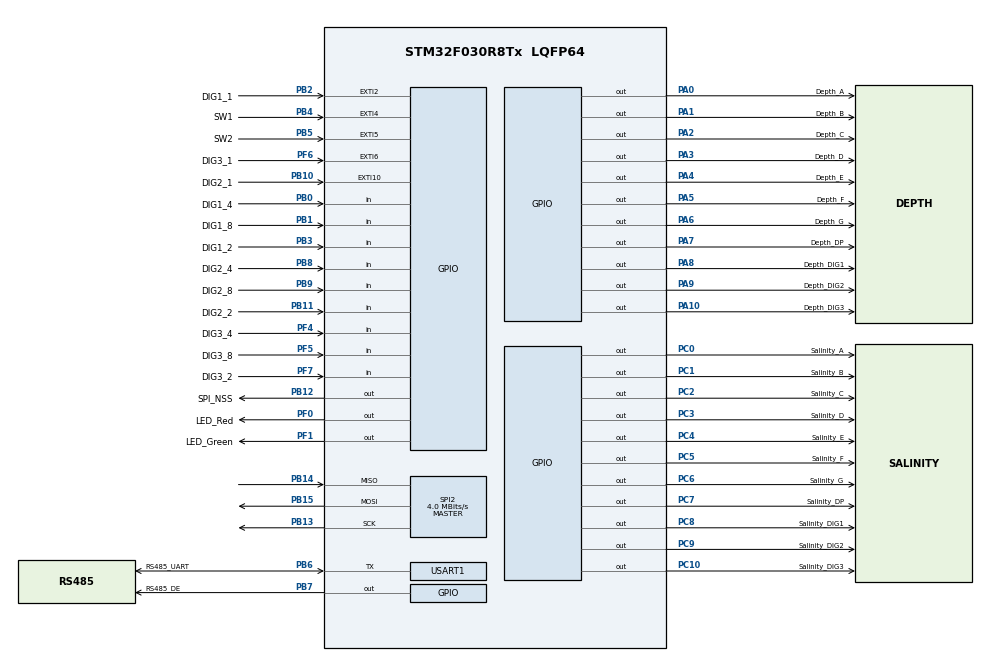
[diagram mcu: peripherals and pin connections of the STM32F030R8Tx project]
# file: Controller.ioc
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Dma.Request0=TIM6_UP
Dma.Request1=TIM17_CH1/UP
Dma.TIM17_CH1/UP.1.Direction=DMA_MEMORY_TO_PERIPH
Dma.TIM17_CH1/UP.1.Instance=DMA1_Channel1
Dma.TIM17_CH1/UP.1.MemDataAlignment=DMA_MDATAALIGN_WORD
Dma.TIM17_CH1/UP.1.MemInc=DMA_MINC_ENABLE
Dma.TIM17_CH1/UP.1.Mode=DMA_CIRCULAR
Dma.TIM17_CH1/UP.1.PeriphDataAlignment=DMA_PDATAALIGN_WORD
Dma.TIM17_CH1/UP.1.PeriphInc=DMA_PINC_DISABLE
Dma.TIM17_CH1/UP.1.Priority=DMA_PRIORITY_LOW
Dma.TIM6_UP.0.Direction=DMA_MEMORY_TO_PERIPH
Dma.TIM6_UP.0.Instance=DMA1_Channel3
Dma.TIM6_UP.0.MemDataAlignment=DMA_MDATAALIGN_WORD
Dma.TIM6_UP.0.MemInc=DMA_MINC_ENABLE
Dma.TIM6_UP.0.Mode=DMA_CIRCULAR
Dma.TIM6_UP.0.PeriphDataAlignment=DMA_PDATAALIGN_WORD
Dma.TIM6_UP.0.PeriphInc=DMA_PINC_DISABLE
Dma.TIM6_UP.0.Priority=DMA_PRIORITY_LOW
Mcu.Family=STM32F0
Mcu.Name=STM32F030R8Tx
Mcu.Package=LQFP64
NVIC.DMA1_Channel1_IRQn=true\:0\:0\:false\:false\:true\:false\:true\:true
NVIC.DMA1_Channel2_3_IRQn=true\:0\:0\:false\:false\:true\:false\:true\:true
NVIC.EXTI2_3_IRQn=true\:3\:0\:true\:false\:true\:true\:true\:true
NVIC.EXTI4_15_IRQn=true\:3\:0\:true\:true\:true\:3\:true\:true\:true
NVIC.TIM6_IRQn=true\:0\:0\:false\:true\:true\:1\:true\:true\:true
NVIC.USART1_IRQn=true\:0\:0\:false\:true\:true\:2\:true\:true\:true
PA0.GPIO_Label=Depth_A
PA0.Signal=GPIO_Output
PA1.GPIO_Label=Depth_B
PA1.Signal=GPIO_Output
PA10.GPIO_Label=Depth_DIG3
PA10.GPIO_ModeDefaultOutputPP=GPIO_MODE_OUTPUT_OD
PA10.GPIO_PuPd=GPIO_NOPULL
PA10.Signal=GPIO_Output
PA13.Mode=Serial_Wire
PA13.Signal=SYS_SWDIO
PA14.Mode=Serial_Wire
PA14.Signal=SYS_SWCLK
PA2.GPIO_Label=Depth_C
PA2.Signal=GPIO_Output
PA3.GPIO_Label=Depth_D
PA3.Signal=GPIO_Output
PA4.GPIO_Label=Depth_E
PA4.Signal=GPIO_Output
PA5.GPIO_Label=Depth_F
PA5.Signal=GPIO_Output
PA6.GPIO_Label=Depth_G
PA6.Signal=GPIO_Output
PA7.GPIO_Label=Depth_DP
PA7.Signal=GPIO_Output
PA8.GPIO_Label=Depth_DIG1
PA8.GPIO_ModeDefaultOutputPP=GPIO_MODE_OUTPUT_OD
PA8.GPIO_PuPd=GPIO_NOPULL
PA8.PinState=GPIO_PIN_RESET
PA8.Signal=GPIO_Output
PA9.GPIO_Label=Depth_DIG2
PA9.GPIO_ModeDefaultOutputPP=GPIO_MODE_OUTPUT_OD
PA9.GPIO_PuPd=GPIO_NOPULL
PA9.Signal=GPIO_Output
PB0.GPIO_Label=DIG1_4
PB0.GPIO_PuPd=GPIO_PULLDOWN
PB0.Signal=GPIO_Input
PB1.GPIO_Label=DIG1_8
PB1.GPIO_PuPd=GPIO_PULLDOWN
PB1.Signal=GPIO_Input
PB10.GPIO_Label=DIG2_1
PB10.GPIO_ModeDefaultEXTI=GPIO_MODE_IT_RISING_FALLING
PB10.GPIO_PuPd=GPIO_PULLDOWN
PB10.Signal=GPXTI10
PB11.GPIO_Label=DIG2_2
PB11.GPIO_PuPd=GPIO_PULLDOWN
PB11.Signal=GPIO_Input
PB12.GPIO_Label=SPI_NSS
PB12.GPIO_ModeDefaultOutputPP=GPIO_MODE_OUTPUT_OD
PB12.GPIO_PuPd=GPIO_NOPULL
PB12.Signal=GPIO_Output
PB13.Mode=Full_Duplex_Master
PB13.Signal=SPI2_SCK
PB14.Mode=Full_Duplex_Master
PB14.Signal=SPI2_MISO
PB15.Mode=Full_Duplex_Master
PB15.Signal=SPI2_MOSI
PB2.GPIO_Label=DIG1_1
PB2.GPIO_ModeDefaultEXTI=GPIO_MODE_IT_RISING_FALLING
PB2.GPIO_PuPd=GPIO_PULLDOWN
PB2.Signal=GPXTI2
PB3.GPIO_Label=DIG1_2
PB3.GPIO_PuPd=GPIO_PULLDOWN
PB3.Signal=GPIO_Input
PB4.GPIO_Label=SW1
PB4.GPIO_ModeDefaultEXTI=GPIO_MODE_IT_FALLING
PB4.GPIO_PuPd=GPIO_PULLUP
PB4.Signal=GPXTI4
PB5.GPIO_Label=SW2
PB5.GPIO_ModeDefaultEXTI=GPIO_MODE_IT_FALLING
PB5.GPIO_PuPd=GPIO_PULLUP
PB5.Signal=GPXTI5
PB6.GPIO_Label=RS485_UART
PB6.Mode=Half_duplex(single_wire_mode)
PB6.Signal=USART1_TX
PB7.GPIO_Label=RS485_DE
PB7.Signal=GPIO_Output
PB8.GPIO_Label=DIG2_4
PB8.GPIO_PuPd=GPIO_PULLDOWN
PB8.Signal=GPIO_Input
PB9.GPIO_Label=DIG2_8
PB9.GPIO_PuPd=GPIO_PULLDOWN
PB9.Signal=GPIO_Input
PC0.GPIO_Label=Salinity_A
PC0.Signal=GPIO_Output
PC1.GPIO_Label=Salinity_B
PC1.Signal=GPIO_Output
PC10.GPIO_Label=Salinity_DIG3
PC10.GPIO_ModeDefaultOutputPP=GPIO_MODE_OUTPUT_OD
PC10.GPIO_PuPd=GPIO_NOPULL
PC10.Signal=GPIO_Output
PC2.GPIO_Label=Salinity_C
PC2.Signal=GPIO_Output
PC3.GPIO_Label=Salinity_D
PC3.Signal=GPIO_Output
PC4.GPIO_Label=Salinity_E
PC4.Signal=GPIO_Output
PC5.GPIO_Label=Salinity_F
PC5.Signal=GPIO_Output
PC6.GPIO_Label=Salinity_G
PC6.Signal=GPIO_Output
PC7.GPIO_Label=Salinity_DP
PC7.Signal=GPIO_Output
PC8.GPIO_Label=Salinity_DIG1
PC8.GPIO_ModeDefaultOutputPP=GPIO_MODE_OUTPUT_OD
PC8.GPIO_PuPd=GPIO_NOPULL
PC8.Signal=GPIO_Output
PC9.GPIO_Label=Salinity_DIG2
PC9.GPIO_ModeDefaultOutputPP=GPIO_MODE_OUTPUT_OD
PC9.GPIO_PuPd=GPIO_NOPULL
PC9.Signal=GPIO_Output
PF0-OSC_IN.GPIO_Label=LED_Red
PF0-OSC_IN.Signal=GPIO_Output
PF1-OSC_OUT.GPIO_Label=LED_Green
PF1-OSC_OUT.Signal=GPIO_Output
PF4.GPIO_Label=DIG3_4
PF4.GPIO_PuPd=GPIO_PULLDOWN
PF4.Signal=GPIO_Input
PF5.GPIO_Label=DIG3_8
PF5.GPIO_PuPd=GPIO_PULLDOWN
PF5.Signal=GPIO_Input
PF6.GPIO_Label=DIG3_1
PF6.GPIO_ModeDefaultEXTI=GPIO_MODE_IT_RISING_FALLING
PF6.GPIO_PuPd=GPIO_PULLDOWN
PF6.Signal=GPXTI6
PF7.GPIO_Label=DIG3_2
PF7.GPIO_PuPd=GPIO_PULLDOWN
PF7.Signal=GPIO_Input
ProjectManager.HeapSize=0x200
ProjectManager.StackSize=0x400
ProjectManager.TargetToolchain=Makefile
SPI2.CalculateBaudRate=4.0 MBits/s
SPI2.Direction=SPI_DIRECTION_2LINES
SPI2.Mode=SPI_MODE_MASTER
SPI2.VirtualType=VM_MASTER
TIM17.AutoReloadPreload=TIM_AUTORELOAD_PRELOAD_ENABLE
TIM17.Period=1000-1
TIM17.Prescaler=8-1
TIM6.AutoReloadPreload=TIM_AUTORELOAD_PRELOAD_ENABLE
TIM6.Period=1000-1
TIM6.Prescaler=8-1
USART1.BaudRate=115200
USART1.VirtualMode-Half_duplex(single_wire_mode)=VM_ASYNC
VP_TIM17_VS_ClockSourceINT.Mode=Enable_Timer
VP_TIM6_VS_ClockSourceINT.Mode=Enable_Timer
board=custom

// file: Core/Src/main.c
/* USER CODE BEGIN Header */
/**
 ******************************************************************************
 * @file           : main.c
 * @brief          : Main program body
 ******************************************************************************
 * @attention
 *
 * Copyright (c) 2024 STMicroelectronics.
 * All rights reserved.
 *
 * This software is licensed under terms that can be found in the LICENSE file
 * in the root directory of this software component.
 * If no LICENSE file comes with this software, it is provided AS-IS.
 *
 ******************************************************************************
 */
/* USER CODE END Header */
#include "main.h"
#include "dma.h"
#include "spi.h"
#include "tim.h"
#include "usart.h"
#include "gpio.h"

/* USER CODE BEGIN Includes */
#include "RS485.h"
#include "ProbeConfig.h"
#include <stdio.h>
#include <string.h>
/* USER CODE END Includes */

/* USER CODE BEGIN PTD */
typedef enum
{
    DISPLAY_SALINITY_DEPTH = 0x00,
    DISPLAY_TEMPERATURE = 0x01,
    DISPLAY_DEPTH = 0x02,
    DISPLAY_RESISTANCE = 0x03,
    DISPLAY_CONDUCTIVITY = 0x04,
    DISPLAY_SALINITY = 0x05,
    DISPLAY_CONFIG_ELECTRODE = 0x06,
    DISPLAY_CONFIG_R1 = 0x07,
    DISPLAY_CONFIG_VOLTAGE_START = 0x08,
    DISPLAY_CONFIG_VOLTAGE_END = 0x09,
    DISPLAY_CONFIG_VOLTAGE_SAMPLES = 0x0a,
    DISPLAY_CONFIG_ADC_SAMPLES = 0x0b,
    DISPLAY_CONFIG_VOLTAGE_SETTLE_TIME = 0x0c,
    DISPLAY_CONFIG_SEND = 0x0d,
    DISPLAY_CALIB = 0x0e,
    Display_Mode_MAX = 0x0f,
} Display_Mode;

/* USER CODE END PTD */

/* USER CODE BEGIN PV */
const uint16_t digit_masks[] = {DIGIT_1_MASK, DIGIT_2_MASK, DIGIT_3_MASK};
const uint8_t number_masks[] = {NUMBER_0_MASK, NUMBER_1_MASK, NUMBER_2_MASK, NUMBER_3_MASK, NUMBER_4_MASK, NUMBER_5_MASK, NUMBER_6_MASK, NUMBER_7_MASK, NUMBER_8_MASK, NUMBER_9_MASK};

const uint32_t display_values[][3] = {
    {0, 0, 0}, // unused
    {0xffff0000 | DIGIT_1_MASK | LETTER_T_MASK, 0xffff0000 | DIGIT_2_MASK | LETTER_E_MASK, 0xffff0000 | DIGIT_3_MASK | LETTER_P_MASK},
    {0xffff0000 | DIGIT_1_MASK | LETTER_D_MASK, 0xffff0000 | DIGIT_2_MASK | LETTER_E_MASK, 0xffff0000 | DIGIT_3_MASK | LETTER_P_MASK},
    {0xffff0000 | DIGIT_1_MASK | LETTER_R_MASK, 0xffff0000 | DIGIT_2_MASK | LETTER_E_MASK, 0xffff0000 | DIGIT_3_MASK | LETTER_S_MASK},
    {0xffff0000 | DIGIT_1_MASK | LETTER_C_MASK, 0xffff0000 | DIGIT_2_MASK | LETTER_N_MASK, 0xffff0000 | DIGIT_3_MASK | LETTER_D_MASK},
    {0xffff0000 | DIGIT_1_MASK | LETTER_S_MASK, 0xffff0000 | DIGIT_2_MASK | LETTER_A_MASK, 0xffff0000 | DIGIT_3_MASK | LETTER_L_MASK},
    {0xffff0000 | DIGIT_1_MASK | LETTER_E_MASK, 0xffff0000 | DIGIT_2_MASK | LETTER_L_MASK, 0xffff0000 | DIGIT_3_MASK | LETTER_E_MASK},
    {0xffff0000 | DIGIT_1_MASK | LETTER_R_MASK, 0xffff0000 | DIGIT_2_MASK | NUMBER_1_MASK, 0xffff0000 | DIGIT_3_MASK | 0},
    {0xffff0000 | DIGIT_1_MASK | LETTER_V_MASK | DECIMAL_POINT, 0xffff0000 | DIGIT_2_MASK | LETTER_S_MASK, 0xffff0000 | DIGIT_3_MASK | LETTER_T_MASK},
    {0xffff0000 | DIGIT_1_MASK | LETTER_V_MASK | DECIMAL_POINT, 0xffff0000 | DIGIT_2_MASK | LETTER_E_MASK, 0xffff0000 | DIGIT_3_MASK | LETTER_D_MASK},
    {0xffff0000 | DIGIT_1_MASK | LETTER_V_MASK | DECIMAL_POINT, 0xffff0000 | DIGIT_2_MASK | LETTER_S_MASK, 0xffff0000 | DIGIT_3_MASK | LETTER_P_MASK},
    {0xffff0000 | DIGIT_1_MASK | LETTER_S_MASK, 0xffff0000 | DIGIT_2_MASK | LETTER_P_MASK, 0xffff0000 | DIGIT_3_MASK | LETTER_L_MASK},
    {0xffff0000 | DIGIT_1_MASK | LETTER_S_MASK, 0xffff0000 | DIGIT_2_MASK | LETTER_T_MASK, 0xffff0000 | DIGIT_3_MASK | LETTER_L_MASK},
    {0xffff0000 | DIGIT_1_MASK | LETTER_C_MASK, 0xffff0000 | DIGIT_2_MASK | LETTER_F_MASK, 0xffff0000 | DIGIT_3_MASK | LETTER_G_MASK},
    {0xffff0000 | DIGIT_1_MASK | LETTER_C_MASK, 0xffff0000 | DIGIT_2_MASK | LETTER_L_MASK, 0xffff0000 | DIGIT_3_MASK | LETTER_B_MASK},
};
const uint32_t display_electrode_type[][3] = {
    {0xffff0000 | DIGIT_1_MASK | LETTER_A_MASK, 0xffff0000 | DIGIT_2_MASK | LETTER_U_MASK, 0},
    {0xffff0000 | DIGIT_1_MASK | LETTER_T_MASK, 0xffff0000 | DIGIT_2_MASK | LETTER_I_MASK, 0},
    {0xffff0000 | DIGIT_1_MASK | LETTER_A_MASK, 0xffff0000 | DIGIT_2_MASK | LETTER_U_MASK, 0xffff0000 | DIGIT_3_MASK | LETTER_S_MASK},
};
const uint32_t display_r1_type[][3] = {
    {0xffff0000 | DIGIT_1_MASK | NUMBER_1_MASK, 0xffff0000 | DIGIT_2_MASK | LETTER_E_MASK, 0xffff0000 | DIGIT_3_MASK | NUMBER_2_MASK},
    {0xffff0000 | DIGIT_1_MASK | NUMBER_1_MASK, 0xffff0000 | DIGIT_2_MASK | LETTER_E_MASK, 0xffff0000 | DIGIT_3_MASK | NUMBER_3_MASK},
    {0xffff0000 | DIGIT_1_MASK | NUMBER_1_MASK, 0xffff0000 | DIGIT_2_MASK | LETTER_E_MASK, 0xffff0000 | DIGIT_3_MASK | NUMBER_4_MASK},
};

uint16_t voltage_map[330];

uint32_t salinity_dma_buff[] = {0xffff0000 | DIGIT_1_MASK | NEGATIVE_SIGN_MASK, 0xffff0000 | DIGIT_2_MASK | NEGATIVE_SIGN_MASK, 0xffff0000 | DIGIT_3_MASK | NEGATIVE_SIGN_MASK};
uint32_t depth_dma_buff[] = {0xffff0000 | DIGIT_1_MASK | NEGATIVE_SIGN_MASK, 0xffff0000 | DIGIT_2_MASK | NEGATIVE_SIGN_MASK, 0xffff0000 | DIGIT_3_MASK | NEGATIVE_SIGN_MASK};

Display_Mode display_mode = DISPLAY_SALINITY_DEPTH;
uint8_t dig1, dig2, dig3;
uint32_t last_tick = 0;

RS485_Expecting expecting_response = EXPECTING_NONE;
uint8_t rx_buffer[256], rx_buffer_size = 0;
uint8_t temperature[DATA_PACKET_SIZE] = {0, 0, 0},
        depth[DATA_PACKET_SIZE] = {0, 0, 0},
        salinity[DATA_PACKET_SIZE] = {0, 0, 0},
        resistance[DATA_PACKET_SIZE] = {0, 0, 0},
        conductivity[DATA_PACKET_SIZE] = {0, 0, 0};
uint16_t calib_salinity = 35 * 10;
uint16_t v_start = 165, v_end = 165;
ProbeConfig_TypeDef probe_config = {Au_Shielded, R1_100, BIDIRECTIONAL, 512, 512, 1, 2, STANARD_CONDUCTIVITY, 50};
/* USER CODE END PV */

void SystemClock_Config(void);
static void MX_NVIC_Init(void);
/* USER CODE BEGIN PFP */
uint8_t get_digit(uint8_t digit_number);
int8_t get_change(uint8_t value, uint8_t *prev_val);
void update_buffer_with_salinity(uint32_t *buffer, uint16_t salinity);
void update_buffer_with_voltage(uint32_t *buffer, uint16_t voltage);
void update_buffer_with_int(uint32_t *buffer, uint16_t value);
void update_buffer(uint32_t *buffer, uint8_t *data);
void rs485_transmit(uint8_t *data, uint16_t size);
void rs485_receive_IT(uint16_t size);
/* USER CODE END PFP */

int main(void)
{
    /* USER CODE BEGIN 1 */
    for (uint16_t i = 0; i < 330; i++)
    {
        voltage_map[i] = (i * 1024) / 330 + 1;
    }
    probe_config.voltage_start = voltage_map[v_start];
    probe_config.voltage_end = voltage_map[v_end];
    /* USER CODE END 1 */

    /* MCU Configuration--------------------------------------------------------*/

    /* Reset of all peripherals, Initializes the Flash interface and the Systick. */
    HAL_Init();

    /* Configure the system clock */
    SystemClock_Config();

    /* Initialize all configured peripherals */
    MX_GPIO_Init();
    MX_DMA_Init();
    MX_SPI2_Init();
    MX_USART1_UART_Init();
    MX_TIM6_Init();
    MX_TIM17_Init();

    /* Initialize interrupts */
    MX_NVIC_Init();
    /* USER CODE BEGIN 2 */
    dig1 = get_digit(1);
    dig2 = get_digit(2);
    dig3 = get_digit(3);

    HAL_DMA_Start(&hdma_tim6_up, (uint32_t)salinity_dma_buff, (uint32_t) & (GPIO_SALINITY->BSRR), 3);
    HAL_TIM_Base_Start(&htim6);
    __HAL_TIM_ENABLE_DMA(&htim6, TIM_DMA_UPDATE);

    HAL_DMA_Start(&hdma_tim17_ch1_up, (uint32_t)depth_dma_buff, (uint32_t) & (GPIO_DEPTH->BSRR), 3);
    HAL_TIM_Base_Start(&htim17);
    __HAL_TIM_ENABLE_DMA(&htim17, TIM_DMA_CC1);

    expecting_response = EXPECTING_CONFIG_READY;
    uint8_t command[] = {COMMAND_SET_CONFIG};
    rs485_transmit(command, 1);
    rs485_receive_IT(1);
    /* USER CODE END 2 */

    /* Infinite loop */
    while (1)
    {

    }
}

void SystemClock_Config(void)
{
    RCC_OscInitTypeDef RCC_OscInitStruct = {0};
    RCC_ClkInitTypeDef RCC_ClkInitStruct = {0};
    RCC_PeriphCLKInitTypeDef PeriphClkInit = {0};

    /** Initializes the RCC Oscillators according to the specified parameters
     * in the RCC_OscInitTypeDef structure.
     */
    RCC_OscInitStruct.OscillatorType = RCC_OSCILLATORTYPE_HSI;
    RCC_OscInitStruct.HSIState = RCC_HSI_ON;
    RCC_OscInitStruct.HSICalibrationValue = RCC_HSICALIBRATION_DEFAULT;
    RCC_OscInitStruct.PLL.PLLState = RCC_PLL_NONE;
    if (HAL_RCC_OscConfig(&RCC_OscInitStruct) != HAL_OK)
    {
        Error_Handler();
    }

    /** Initializes the CPU, AHB and APB buses clocks
     */
    RCC_ClkInitStruct.ClockType = RCC_CLOCKTYPE_HCLK | RCC_CLOCKTYPE_SYSCLK | RCC_CLOCKTYPE_PCLK1;
    RCC_ClkInitStruct.SYSCLKSource = RCC_SYSCLKSOURCE_HSI;
    RCC_ClkInitStruct.AHBCLKDivider = RCC_SYSCLK_DIV1;
    RCC_ClkInitStruct.APB1CLKDivider = RCC_HCLK_DIV1;

    if (HAL_RCC_ClockConfig(&RCC_ClkInitStruct, FLASH_LATENCY_0) != HAL_OK)
    {
        Error_Handler();
    }
    PeriphClkInit.PeriphClockSelection = RCC_PERIPHCLK_USART1;
    PeriphClkInit.Usart1ClockSelection = RCC_USART1CLKSOURCE_PCLK1;
    if (HAL_RCCEx_PeriphCLKConfig(&PeriphClkInit) != HAL_OK)
    {
        Error_Handler();
    }
}

/**
 * @brief NVIC Configuration.
 * @retval None
 */
static void MX_NVIC_Init(void)
{
    /* TIM6_IRQn interrupt configuration */
    HAL_NVIC_SetPriority(TIM6_IRQn, 0, 0);
    HAL_NVIC_EnableIRQ(TIM6_IRQn);
    /* USART1_IRQn interrupt configuration */
    HAL_NVIC_SetPriority(USART1_IRQn, 0, 0);
    HAL_NVIC_EnableIRQ(USART1_IRQn);
    /* EXTI4_15_IRQn interrupt configuration */
    HAL_NVIC_SetPriority(EXTI4_15_IRQn, 3, 0);
    HAL_NVIC_EnableIRQ(EXTI4_15_IRQn);
}

/* USER CODE BEGIN 4 */

void HAL_UART_RxCpltCallback(UART_HandleTypeDef *huart)
{
    if (huart->Instance == USART1)
    {
        HAL_GPIO_WritePin(LED_Green_GPIO_Port, LED_Green_Pin, GPIO_PIN_SET);
        switch (expecting_response)
        {
        case EXPECTING_SALINITY_DEPTH:
            salinity[0] = rx_buffer[0];
            salinity[1] = rx_buffer[1];
            salinity[2] = rx_buffer[2];
            if (display_mode == DISPLAY_SALINITY_DEPTH)
            {
                update_buffer(salinity_dma_buff, salinity);
            }
            expecting_response = EXPECTING_DEPTH;
            uint8_t command[] = {COMMAND_GET_DEPTH};
            rs485_transmit(command, 1);
            rs485_receive_IT(DATA_PACKET_SIZE);
            break;
        case EXPECTING_TEMPERATURE:
            temperature[0] = rx_buffer[0];
            temperature[1] = rx_buffer[1];
            temperature[2] = rx_buffer[2];
            if (display_mode == DISPLAY_TEMPERATURE)
            {
                update_buffer(depth_dma_buff, temperature);
            }
            break;
        case EXPECTING_DEPTH:
            depth[0] = rx_buffer[0];
            depth[1] = rx_buffer[1];
            depth[2] = rx_buffer[2];
            if ((display_mode == DISPLAY_DEPTH) || (display_mode == DISPLAY_SALINITY_DEPTH))
            {
                update_buffer(depth_dma_buff, depth);
            }
            break;
        case EXPECTING_SALINITY:
            salinity[0] = rx_buffer[0];
            salinity[1] = rx_buffer[1];
            salinity[2] = rx_buffer[2];
            if (display_mode == DISPLAY_SALINITY)
            {
                update_buffer(depth_dma_buff, salinity);
            }
            break;
        case EXPECTING_CONDUCTIVITY:
            conductivity[0] = rx_buffer[0];
            conductivity[1] = rx_buffer[1];
            conductivity[2] = rx_buffer[2];
            if (display_mode == DISPLAY_CONDUCTIVITY)
            {
                update_buffer(depth_dma_buff, conductivity);
            }
            break;
        case EXPECTING_RESISTANCE:
            resistance[0] = rx_buffer[0];
            resistance[1] = rx_buffer[1];
            resistance[2] = rx_buffer[2];
            if (display_mode == DISPLAY_RESISTANCE)
            {
                update_buffer(depth_dma_buff, resistance);
            }
            break;

        case EXPECTING_CONFIG_READY:
            if (rx_buffer[0] == RESPONSE_ACK)
            {
                expecting_response = EXPECTING_ACK;
                rs485_transmit((uint8_t *)&probe_config, CONFIG_PACKET_SIZE);
            }
            break;
        case EXPECTING_CALIB_READY:
            if (rx_buffer[0] == RESPONSE_ACK)
            {
                expecting_response = EXPECTING_STANARD_CONDUCTIVITY;
                rs485_transmit((uint8_t *)&calib_salinity, 2);
                rs485_receive_IT(sizeof(uint32_t));
            }
            break;
        case EXPECTING_STANARD_CONDUCTIVITY:
            uint32_t standard_conductivity = *((uint32_t *)rx_buffer);
            probe_config.stardard_conductivity = standard_conductivity;
            // write std cnd to sd card.
            break;

        case EXPECTING_ACK:
            if (rx_buffer[0] == RESPONSE_ACK)
            {
            }
            break;
        default:
            break;
        }
    }
}

void HAL_GPIO_EXTI_Callback(uint16_t GPIO_Pin)
{
    uint8_t command[] = {0}, data[] = {0, 0, 0};
    int8_t change;
    switch (GPIO_Pin)
    {
    case DIG1_1_Pin:
        uint8_t dig = get_digit(1);
        change = get_change(dig, &dig1);
        display_mode = (display_mode + change + Display_Mode_MAX) % Display_Mode_MAX;

        salinity_dma_buff[0] = display_values[display_mode][0];
        salinity_dma_buff[1] = display_values[display_mode][1];
        salinity_dma_buff[2] = display_values[display_mode][2];

        switch (display_mode)
        {
        case DISPLAY_SALINITY_DEPTH:
            update_buffer(salinity_dma_buff, salinity);
            update_buffer(depth_dma_buff, depth);
            break;
        case DISPLAY_TEMPERATURE:
            update_buffer(depth_dma_buff, temperature);
            break;
        case DISPLAY_DEPTH:
            update_buffer(depth_dma_buff, depth);
            break;
        case DISPLAY_SALINITY:
            update_buffer(depth_dma_buff, salinity);
            break;
        case DISPLAY_CONDUCTIVITY:
            update_buffer(depth_dma_buff, conductivity);
            break;
        case DISPLAY_RESISTANCE:
            update_buffer(depth_dma_buff, resistance);
            break;
        case DISPLAY_CONFIG_ELECTRODE:
            depth_dma_buff[0] = display_electrode_type[probe_config.electrode][0];
            depth_dma_buff[1] = display_electrode_type[probe_config.electrode][1];
            depth_dma_buff[2] = display_electrode_type[probe_config.electrode][2];
            break;
        case DISPLAY_CONFIG_R1:
            depth_dma_buff[0] = display_r1_type[probe_config.r1][0];
            depth_dma_buff[1] = display_r1_type[probe_config.r1][1];
            depth_dma_buff[2] = display_r1_type[probe_config.r1][2];
            break;
        case DISPLAY_CONFIG_VOLTAGE_START:
            update_buffer_with_voltage(depth_dma_buff, probe_config.voltage_start);
            break;
        case DISPLAY_CONFIG_VOLTAGE_END:
            update_buffer_with_voltage(depth_dma_buff, probe_config.voltage_end);
            break;
        case DISPLAY_CONFIG_VOLTAGE_SAMPLES:
            data[0] = probe_config.num_samples / 100;
            data[1] = (probe_config.num_samples % 100) / 10;
            data[2] = probe_config.num_samples % 10;
            update_buffer(depth_dma_buff, data);
            break;
        case DISPLAY_CONFIG_ADC_SAMPLES:
            data[0] = probe_config.adc_samples / 100;
            data[1] = (probe_config.adc_samples % 100) / 10;
            data[2] = probe_config.adc_samples % 10;
            update_buffer(depth_dma_buff, data);
            break;
        case DISPLAY_CONFIG_SEND:
            depth_dma_buff[0] = 0xffff0000 | DIGIT_1_MASK | NEGATIVE_SIGN_MASK;
            depth_dma_buff[1] = 0xffff0000 | DIGIT_2_MASK | NEGATIVE_SIGN_MASK;
            depth_dma_buff[2] = 0xffff0000 | DIGIT_3_MASK | NEGATIVE_SIGN_MASK;
            break;
        case DISPLAY_CALIB:
            update_buffer_with_salinity(depth_dma_buff, calib_salinity);
            break;
        default:
            break;
        }
        break;
    case DIG2_1_Pin:
        change = get_change(get_digit(2), &dig2);
        switch (display_mode)
        {
        case DISPLAY_CONFIG_ELECTRODE:
            probe_config.electrode = (probe_config.electrode + change + Electrode_Type_MAX) % Electrode_Type_MAX;
            depth_dma_buff[0] = display_electrode_type[probe_config.electrode][0];
            depth_dma_buff[1] = display_electrode_type[probe_config.electrode][1];
            depth_dma_buff[2] = display_electrode_type[probe_config.electrode][2];
            break;
        case DISPLAY_CONFIG_R1:
            probe_config.r1 = (probe_config.r1 + change + R1_Type_MAX) % R1_Type_MAX;
            depth_dma_buff[0] = display_r1_type[probe_config.r1][0];
            depth_dma_buff[1] = display_r1_type[probe_config.r1][1];
            depth_dma_buff[2] = display_r1_type[probe_config.r1][2];
            break;
        case DISPLAY_CONFIG_VOLTAGE_START:
            v_start = (v_start + change * 10 + 330) % 330;
            probe_config.voltage_start = voltage_map[v_start];
            update_buffer_with_voltage(depth_dma_buff, probe_config.voltage_start);
            break;
        case DISPLAY_CONFIG_VOLTAGE_END:
            v_end = (v_end + change * 10 + 330) % 330;
            probe_config.voltage_end = voltage_map[v_end];
            update_buffer_with_voltage(depth_dma_buff, probe_config.voltage_end);
            break;
        case DISPLAY_CONFIG_VOLTAGE_SAMPLES:
            probe_config.num_samples = (probe_config.num_samples + change * 10) % 1000;
            update_buffer_with_int(depth_dma_buff, probe_config.num_samples);
            break;
        case DISPLAY_CONFIG_ADC_SAMPLES:
            probe_config.adc_samples = (probe_config.adc_samples + change * 10) % 1000;
            update_buffer_with_int(depth_dma_buff, probe_config.adc_samples);
            break;
        case DISPLAY_CONFIG_VOLTAGE_SETTLE_TIME:
            probe_config.voltage_settle_time = (probe_config.voltage_settle_time + change * 10) % 1000;
            update_buffer_with_int(depth_dma_buff, probe_config.voltage_settle_time);
        case DISPLAY_CALIB:
            calib_salinity = (calib_salinity + change * 10) % 1000;
            update_buffer_with_salinity(depth_dma_buff, calib_salinity);
        default:
            break;
        }
        break;
    case DIG3_1_Pin:
        change = get_change(get_digit(3), &dig3);
        switch (display_mode)
        {
        case DISPLAY_CONFIG_VOLTAGE_START:
            v_start = (v_start + change + 330) % 330;
            probe_config.voltage_start = voltage_map[v_start];
            update_buffer_with_voltage(depth_dma_buff, probe_config.voltage_start);
            break;
        case DISPLAY_CONFIG_VOLTAGE_END:
            v_end = (v_end + change + 330) % 330;
            probe_config.voltage_end = voltage_map[v_end];
            update_buffer_with_voltage(depth_dma_buff, probe_config.voltage_end);
            break;
        case DISPLAY_CONFIG_VOLTAGE_SAMPLES:
            probe_config.num_samples = (probe_config.num_samples + change) % 1000;
            update_buffer_with_int(depth_dma_buff, probe_config.num_samples);
            break;
        case DISPLAY_CONFIG_ADC_SAMPLES:
            probe_config.adc_samples = (probe_config.adc_samples + change) % 1000;
            update_buffer_with_int(depth_dma_buff, probe_config.adc_samples);
            break;
        case DISPLAY_CONFIG_VOLTAGE_SETTLE_TIME:
            probe_config.voltage_settle_time = (probe_config.voltage_settle_time + change) % 1000;
            update_buffer_with_int(depth_dma_buff, probe_config.voltage_settle_time);
        case DISPLAY_CALIB:
            calib_salinity = (calib_salinity + change) % 1000;
            update_buffer_with_salinity(depth_dma_buff, calib_salinity);
        default:
            break;
        }
        break;
    case SW1_Pin:
        // if (expecting_response != EXPECTING_NONE)
        // {
        //     return;
        // }
        switch (display_mode)
        {
        case DISPLAY_SALINITY_DEPTH:
            expecting_response = EXPECTING_SALINITY_DEPTH;
            command[0] = COMMAND_GET_SALINITY;
            rs485_transmit(command, 1);
            rs485_receive_IT(DATA_PACKET_SIZE);
            break;
        case DISPLAY_TEMPERATURE:
            expecting_response = EXPECTING_TEMPERATURE;
            command[0] = COMMAND_GET_TEMPERATURE;
            rs485_transmit(command, 1);
            rs485_receive_IT(DATA_PACKET_SIZE);
            break;
        case DISPLAY_DEPTH:
            expecting_response = EXPECTING_DEPTH;
            command[0] = COMMAND_GET_DEPTH;
            rs485_transmit(command, 1);
            rs485_receive_IT(DATA_PACKET_SIZE);
            break;
        case DISPLAY_SALINITY:
            expecting_response = EXPECTING_SALINITY;
            command[0] = COMMAND_GET_SALINITY;
            rs485_transmit(command, 1);
            rs485_receive_IT(DATA_PACKET_SIZE);
            break;
        case DISPLAY_CONDUCTIVITY:
            expecting_response = EXPECTING_CONDUCTIVITY;
            command[0] = COMMAND_GET_CONDUCTIVITY;
            rs485_transmit(command, 1);
            rs485_receive_IT(DATA_PACKET_SIZE);
            break;
        case DISPLAY_RESISTANCE:
            expecting_response = EXPECTING_RESISTANCE;
            command[0] = COMMAND_GET_RESISTANCE;
            rs485_transmit(command, 1);
            rs485_receive_IT(DATA_PACKET_SIZE);
            break;

        case DISPLAY_CONFIG_ELECTRODE:
        case DISPLAY_CONFIG_R1:
        case DISPLAY_CONFIG_VOLTAGE_START:
        case DISPLAY_CONFIG_VOLTAGE_END:
        case DISPLAY_CONFIG_VOLTAGE_SAMPLES:
        case DISPLAY_CONFIG_ADC_SAMPLES:
        case DISPLAY_CONFIG_SEND:
            expecting_response = EXPECTING_CONFIG_READY;
            command[0] = COMMAND_SET_CONFIG;
            rs485_transmit(command, 1);
            rs485_receive_IT(1);
            break;
        case DISPLAY_CALIB:
            expecting_response = EXPECTING_CALIB_READY;
            command[0] = COMMAND_CALIBRATE;
            rs485_transmit(command, 1);
            rs485_receive_IT(1);
            break;
        default:
            break;
        }
        break;
    case SW2_Pin:
        command[0] = COMMAND_RESET;
        rs485_transmit(command, 1);
        HAL_NVIC_SystemReset();
        break;
    default:
        break;
    }
}

uint8_t get_digit(uint8_t digit_number)
{
    HAL_Delay(10);
    switch (digit_number)
    {
    case 1:
        return (HAL_GPIO_ReadPin(DIG1_8_GPIO_Port, DIG1_8_Pin) << 3) |
               (HAL_GPIO_ReadPin(DIG1_4_GPIO_Port, DIG1_4_Pin) << 2) |
               (HAL_GPIO_ReadPin(DIG1_2_GPIO_Port, DIG1_2_Pin) << 1) |
               HAL_GPIO_ReadPin(DIG1_1_GPIO_Port, DIG1_1_Pin);
    case 2:
        return (HAL_GPIO_ReadPin(DIG2_8_GPIO_Port, DIG2_8_Pin) << 3) |
               (HAL_GPIO_ReadPin(DIG2_4_GPIO_Port, DIG2_4_Pin) << 2) |
               (HAL_GPIO_ReadPin(DIG2_2_GPIO_Port, DIG2_2_Pin) << 1) |
               HAL_GPIO_ReadPin(DIG2_1_GPIO_Port, DIG2_1_Pin);
    case 3:
        return (HAL_GPIO_ReadPin(DIG3_8_GPIO_Port, DIG3_8_Pin) << 3) |
               (HAL_GPIO_ReadPin(DIG3_4_GPIO_Port, DIG3_4_Pin) << 2) |
               (HAL_GPIO_ReadPin(DIG3_2_GPIO_Port, DIG3_2_Pin) << 1) |
               HAL_GPIO_ReadPin(DIG3_1_GPIO_Port, DIG3_1_Pin);
    default:
        return 0;
    }
}

int8_t get_change(uint8_t value, uint8_t *prev_val)
{
    int8_t change;
    if ((value + 1) % 10 == *prev_val)
    {
        change = -1;
    }
    else if ((value + 9) % 10 == *prev_val)
    {
        change = +1;
    }
    else
    {
        change = 0;
    }
    *prev_val = value;
    return change;
}

void update_buffer_with_salinity(uint32_t *buffer, uint16_t salinity)
{
    // salinity is x10
    uint8_t data[3] = {0, 0, 0};
    data[0] = salinity / 100;
    data[1] = ((salinity % 100) / 10) | DECIMAL_POINT;
    data[2] = salinity % 10;
    update_buffer(buffer, data);
}

void update_buffer_with_voltage(uint32_t *buffer, uint16_t voltage)
{
    // voltage is 10 bit
    uint8_t data[3] = {0, 0, 0};
    voltage = (voltage * 330) / 1024;
    data[0] = voltage / 100 | DECIMAL_POINT;
    data[1] = (voltage % 100) / 10;
    data[2] = voltage % 10;
    update_buffer(buffer, data);
}

void update_buffer_with_int(uint32_t *buffer, uint16_t value)
{
    uint8_t data[3] = {0, 0, 0};
    data[0] = value / 100;
    data[1] = (value % 100) / 10;
    data[2] = value % 10;
    update_buffer(buffer, data);
}

void update_buffer(uint32_t *buffer, uint8_t *data)
{
    for (uint8_t i = 0; i < DATA_PACKET_SIZE; i++)
    {
        if (data[i] & NEGATIVE_SIGN)
        {
            buffer[i] = (0xffff << 16) | digit_masks[i] | NEGATIVE_SIGN_MASK;
        }
        else
        {
            buffer[i] = (0xffff << 16) | digit_masks[i] | number_masks[data[i] & 0x0f];
            if (data[i] & DECIMAL_POINT)
            {
                buffer[i] |= DP_MASK;
            }
        }
    }
}

void rs485_transmit(uint8_t *data, uint16_t size)
{
    HAL_GPIO_WritePin(LED_Green_GPIO_Port, LED_Green_Pin, GPIO_PIN_RESET);
    HAL_GPIO_WritePin(RS485_DE_GPIO_Port, RS485_DE_Pin, GPIO_PIN_SET);
    if (HAL_HalfDuplex_EnableTransmitter(&huart1) != HAL_OK)
    {
        Error_Handler();
    }
    if (HAL_UART_Transmit(&huart1, data, size, 1000) != HAL_OK)
    {
        Error_Handler();
    }
}

void rs485_receive_IT(uint16_t size)
{
    HAL_GPIO_WritePin(RS485_DE_GPIO_Port, RS485_DE_Pin, GPIO_PIN_RESET);
    if (HAL_HalfDuplex_EnableReceiver(&huart1) != HAL_OK)
    {
        Error_Handler();
    }
    if (HAL_UART_Receive_IT(&huart1, rx_buffer, size) != HAL_OK)
    {
        Error_Handler();
    }
}

/* USER CODE END 4 */

void Error_Handler(void)
{
    /* USER CODE BEGIN Error_Handler_Debug */
    /* User can add his own implementation to report the HAL error return state */
    __disable_irq();
    HAL_GPIO_WritePin(LED_Red_GPIO_Port, LED_Red_Pin, GPIO_PIN_SET);
    while (1)
    {
        if (HAL_GPIO_ReadPin(SW2_GPIO_Port, SW2_Pin) == GPIO_PIN_RESET)
        {
            HAL_NVIC_SystemReset();
        }
    }
    /* USER CODE END Error_Handler_Debug */
}
